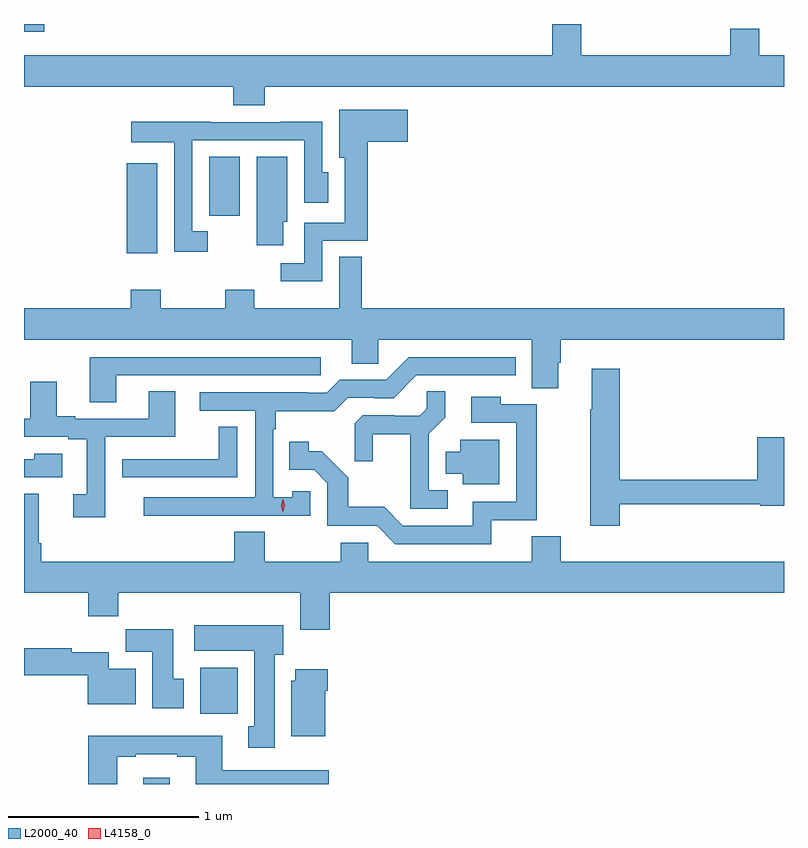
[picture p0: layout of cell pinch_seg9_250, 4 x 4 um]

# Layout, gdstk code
import gdstk
lib = gdstk.Library(unit=1e-6, precision=1e-09)
def R(c, l, rs):  # rectangles x0, y0, x1, y1
    for r in rs: c.add(gdstk.rectangle(r[:2], r[2:], *l))
def P(c, l, *ps):  # polygons
    for p in ps: c.add(gdstk.Polygon(p, *l))
L2000_40 = (2000, 40)
L4158_0 = (4158, 0)

pinch_seg9_250 = lib.new_cell('pinch_seg9_250')
R(pinch_seg9_250, L2000_40, [(483.113,1236.705,483.253,1236.739), (483.413,1237.076,483.61,1237.318), (483.026,1239.498,483.187,1239.973), (483.461,1239.696,483.622,1240.007), (482.486,1240.665,482.593,1240.705), (485.708,1240.704,485.839,1240.705)])
P(pinch_seg9_250, L2000_40, [(483.752,1240.376),(486.486,1240.376),(486.486,1240.54),(486.355,1240.54),(486.355,1240.681),(486.203,1240.681),(486.203,1240.54),(485.419,1240.54),(485.419,1240.705),(485.267,1240.705),(485.267,1240.54),(482.486,1240.54),(482.486,1240.376),(483.587,1240.376),(483.587,1240.277),(483.752,1240.277)],
  [(484.056,1239.564),(484.294,1239.564),(484.294,1240.085),(484.507,1240.085),(484.507,1240.255),(484.145,1240.255),(484.145,1240.001),(484.175,1240.001),(484.175,1239.66),(483.96,1239.66),(483.96,1239.447),(483.837,1239.447),(483.837,1239.35),(484.056,1239.35)],
  [(483.454,1239.615),(483.372,1239.615),(483.372,1240.092),(483.96,1240.092),(483.96,1239.765),(484.087,1239.765),(484.087,1239.924),(484.056,1239.924),(484.056,1240.19),(483.835,1240.19),(483.835,1240.188),(483.469,1240.188),(483.469,1240.19),(483.051,1240.19),(483.051,1240.082),(483.276,1240.082),(483.276,1239.507),(483.454,1239.507)],
  [(483.85,1239.663),(483.871,1239.663),(483.871,1240.007),(483.71,1240.007),(483.71,1239.54),(483.85,1239.54)],
  [(485.299,1238.922),(485.312,1238.922),(485.312,1239.044),(486.486,1239.044),(486.486,1239.208),(484.264,1239.208),(484.264,1239.479),(484.145,1239.479),(484.145,1239.208),(483.699,1239.208),(483.699,1239.307),(483.544,1239.307),(483.544,1239.208),(483.207,1239.208),(483.207,1239.307),(483.047,1239.307),(483.047,1239.208),(482.486,1239.208),(482.486,1239.044),(484.211,1239.044),(484.211,1238.917),(484.35,1238.917),(484.35,1239.044),(485.159,1239.044),(485.159,1238.788),(485.299,1238.788)],
  [(482.971,1238.856),(484.048,1238.856),(484.048,1238.952),(482.831,1238.952),(482.831,1238.713),(482.971,1238.713)],
  [(483.509,1238.118),(483.993,1238.118),(483.993,1238.247),(483.897,1238.247),(483.897,1238.215),(483.798,1238.215),(483.798,1238.573),(483.811,1238.573),(483.811,1238.666),(484.118,1238.666),(484.191,1238.739),(484.33,1238.739),(484.33,1238.736),(484.431,1238.736),(484.551,1238.856),(485.074,1238.856),(485.074,1238.952),(484.512,1238.952),(484.392,1238.832),(484.149,1238.832),(484.08,1238.763),(483.98,1238.763),(483.98,1238.766),(483.411,1238.766),(483.411,1238.67),(483.702,1238.67),(483.702,1238.214),(483.117,1238.214),(483.117,1238.116),(483.509,1238.116)],
  [(485.621,1238.178),(486.36,1238.178),(486.36,1238.17),(486.486,1238.17),(486.486,1238.53),(486.344,1238.53),(486.344,1238.306),(485.621,1238.306),(485.621,1238.89),(485.474,1238.89),(485.474,1238.677),(485.467,1238.677),(485.467,1238.064),(485.621,1238.064)],
  [(482.913,1238.532),(483.283,1238.532),(483.283,1238.771),(483.143,1238.771),(483.143,1238.628),(482.755,1238.628),(482.755,1238.641),(482.659,1238.641),(482.659,1238.821),(482.519,1238.821),(482.519,1238.628),(482.486,1238.628),(482.486,1238.532),(482.72,1238.532),(482.72,1238.52),(482.816,1238.52),(482.816,1238.229),(482.745,1238.229),(482.745,1238.109),(482.913,1238.109)],
  [(484.717,1238.25),(484.617,1238.25),(484.617,1238.549),(484.703,1238.635),(484.703,1238.771),(484.605,1238.771),(484.605,1238.68),(484.568,1238.643),(484.434,1238.643),(484.434,1238.646),(484.269,1238.646),(484.228,1238.605),(484.228,1238.403),(484.322,1238.403),(484.322,1238.546),(484.52,1238.546),(484.52,1238.154),(484.717,1238.154)],
  [(484.946,1238.094),(485.185,1238.094),(485.185,1238.703),(484.995,1238.703),(484.995,1238.743),(484.839,1238.743),(484.839,1238.607),(485.076,1238.607),(485.076,1238.19),(484.847,1238.19),(484.847,1238.064),(484.479,1238.064),(484.381,1238.163),(484.192,1238.163),(484.192,1238.318),(484.054,1238.456),(483.984,1238.456),(483.984,1238.506),(483.883,1238.506),(483.883,1238.358),(484.014,1238.358),(484.083,1238.289),(484.083,1238.064),(484.344,1238.064),(484.44,1237.968),(484.946,1237.968)],
  [(483.609,1238.585),(483.511,1238.585),(483.511,1238.415),(483.115,1238.415),(483.115,1238.414),(483.003,1238.414),(483.003,1238.319),(483.609,1238.319)],
  [(484.987,1238.518),(484.781,1238.518),(484.781,1238.455),(484.706,1238.455),(484.706,1238.339),(484.796,1238.339),(484.796,1238.282),(484.987,1238.282)],
  [(482.686,1238.443),(482.541,1238.443),(482.541,1238.415),(482.486,1238.415),(482.486,1238.319),(482.686,1238.319)],
  [(484.094,1237.712),(486.486,1237.712),(486.486,1237.876),(485.312,1237.876),(485.312,1238.009),(485.159,1238.009),(485.159,1237.876),(484.299,1237.876),(484.299,1237.974),(484.153,1237.974),(484.153,1237.876),(483.753,1237.876),(483.753,1238.033),(483.593,1238.033),(483.593,1237.876),(482.576,1237.876),(482.576,1237.972),(482.563,1237.972),(482.563,1238.233),(482.486,1238.233),(482.486,1237.712),(482.825,1237.712),(482.825,1237.588),(482.981,1237.588),(482.981,1237.712),(483.941,1237.712),(483.941,1237.518),(484.094,1237.518)],
  [(483.805,1237.386),(483.85,1237.386),(483.85,1237.54),(483.381,1237.54),(483.381,1237.406),(483.698,1237.406),(483.698,1237.01),(483.665,1237.01),(483.665,1236.897),(483.805,1236.897)],
  [(483.328,1237.26),(483.271,1237.26),(483.271,1237.519),(483.022,1237.519),(483.022,1237.4),(483.161,1237.4),(483.161,1237.104),(483.328,1237.104)],
  [(483.073,1237.312),(482.932,1237.312),(482.932,1237.399),(482.736,1237.399),(482.736,1237.419),(482.486,1237.419),(482.486,1237.277),(482.822,1237.277),(482.822,1237.124),(483.073,1237.124)],
  [(484.072,1237.196),(484.085,1237.196),(484.085,1237.309),(483.914,1237.309),(483.914,1237.248),(483.893,1237.248),(483.893,1236.956),(484.072,1236.956)],
  [(482.977,1236.849),(483.073,1236.849),(483.073,1236.861),(483.293,1236.861),(483.293,1236.849),(483.389,1236.849),(483.389,1236.705),(484.09,1236.705),(484.09,1236.777),(483.529,1236.777),(483.529,1236.958),(482.825,1236.958),(482.825,1236.705),(482.977,1236.705)])
P(pinch_seg9_250, L4158_0, [(483.848,1238.133),(483.848,1238.134),(483.839,1238.169),(483.849,1238.205),(483.849,1238.205),(483.85,1238.205),(483.859,1238.169),(483.849,1238.134)])

lib.write_gds('pinch_seg9_250.gds')
